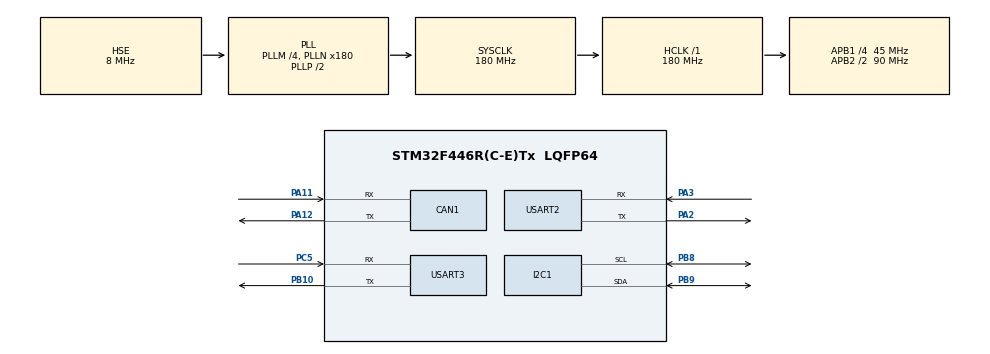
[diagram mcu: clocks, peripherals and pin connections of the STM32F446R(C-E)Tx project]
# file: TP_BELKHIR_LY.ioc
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Mcu.Family=STM32F4
Mcu.Name=STM32F446R(C-E)Tx
Mcu.Package=LQFP64
NVIC.PriorityGroup=NVIC_PRIORITYGROUP_0
PA11.Mode=CAN_Activate
PA11.Signal=CAN1_RX
PA12.Mode=CAN_Activate
PA12.Signal=CAN1_TX
PA13.Mode=Trace_Asynchronous_SW
PA13.Signal=SYS_JTMS-SWDIO
PA14.Mode=Trace_Asynchronous_SW
PA14.Signal=SYS_JTCK-SWCLK
PA2.Mode=Asynchronous
PA2.Signal=USART2_TX
PA3.Mode=Asynchronous
PA3.Signal=USART2_RX
PB10.Mode=Asynchronous
PB10.Signal=USART3_TX
PB3.Mode=Trace_Asynchronous_SW
PB3.Signal=SYS_JTDO-SWO
PB8.Mode=I2C
PB8.Signal=I2C1_SCL
PB9.Mode=I2C
PB9.Signal=I2C1_SDA
PC5.Mode=Asynchronous
PC5.Signal=USART3_RX
PH0-OSC_IN.Mode=HSE-External-Oscillator
PH0-OSC_IN.Signal=RCC_OSC_IN
PH1-OSC_OUT.Mode=HSE-External-Oscillator
PH1-OSC_OUT.Signal=RCC_OSC_OUT
ProjectManager.HeapSize=0x200
ProjectManager.StackSize=0x400
ProjectManager.TargetToolchain=STM32CubeIDE
RCC.48MHZClocksFreq_Value=84000000
RCC.AHBFreq_Value=180000000
RCC.APB1CLKDivider=RCC_HCLK_DIV4
RCC.APB1Freq_Value=45000000
RCC.APB1TimFreq_Value=90000000
RCC.APB2CLKDivider=RCC_HCLK_DIV2
RCC.APB2Freq_Value=90000000
RCC.APB2TimFreq_Value=180000000
RCC.CortexFreq_Value=180000000
RCC.FLatency-AdvancedSettings=FLASH_LATENCY_5
RCC.HCLKFreq_Value=180000000
RCC.HSE_VALUE=8000000
RCC.HSI_VALUE=16000000
RCC.PLLM=4
RCC.PLLN=180
RCC.PLLSourceVirtual=RCC_PLLSOURCE_HSE
RCC.SYSCLKFreq_VALUE=180000000
RCC.SYSCLKSource=RCC_SYSCLKSOURCE_PLLCLK
RCC.USBFreq_Value=180000000
RCC.VCOOutputFreq_Value=360000000
USART2.VirtualMode=VM_ASYNC
board=NUCLEO-F446RE

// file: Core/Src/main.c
/* USER CODE BEGIN Header */
/**
 ******************************************************************************
 * @file           : main.c
 * @brief          : Main program body
 ******************************************************************************
 * @attention
 *
 * Copyright (c) 2024 STMicroelectronics.
 * All rights reserved.
 *
 * This software is licensed under terms that can be found in the LICENSE file
 * in the root directory of this software component.
 * If no LICENSE file comes with this software, it is provided AS-IS.
 *
 ******************************************************************************
 */
/* USER CODE END Header */
#include "main.h"
#include "can.h"
#include "i2c.h"
#include "usart.h"
#include "gpio.h"

/* USER CODE BEGIN Includes */
#include <stdio.h>

/* USER CODE END Includes */

/* USER CODE BEGIN PTD */
uint16_t bmp280Adresse=0x77<<1 ;
uint8_t bmp280RegisterId = 0xD0 ;
uint8_t idValue  ;
//uint8_t modeNormalT2P16 = 0x57 ;
//uint8_t controlRegister = 0xF4 ;
uint8_t config[2] = {0xF4 , 0x57 } ;
uint8_t configValue  ;
uint8_t etalonnageContenu[25] ;
uint8_t etalonnageRegistre = 0x88 ;
uint8_t TempRegister[3]={0xfc ,0xfb ,0xfa} ;
uint8_t TempValue[3] ;
uint32_t Temperature ;
/* USER CODE END PTD */

void SystemClock_Config(void);

/* USER CODE BEGIN 0 */
int __io_putchar(int chr){

	HAL_UART_Transmit(&huart2, (uint8_t*)&chr,1, HAL_MAX_DELAY);
	return chr;
}

/* USER CODE END 0 */

int main(void)
{

	/* MCU Configuration--------------------------------------------------------*/

	/* Reset of all peripherals, Initializes the Flash interface and the Systick. */
	HAL_Init();

	/* Configure the system clock */
	SystemClock_Config();

	/* Initialize all configured peripherals */
	MX_GPIO_Init();
	MX_USART2_UART_Init();
	MX_I2C1_Init();
	MX_CAN1_Init();
	MX_USART3_UART_Init();
	/* USER CODE BEGIN 2 */
	printf("=============106===========\r\n") ;

	/* USER CODE END 2 */
	/**
  HAL_I2C_Master_Transmit(&hi2c1, bmp280Adresse, &bmp280RegisterId, 1, HAL_MAX_DELAY);
  HAL_I2C_Master_Receive(&hi2c1, bmp280Adresse, &idValue, 1, HAL_MAX_DELAY);
  printf("id = 0x%x \r\n" , idValue) ;

	HAL_I2C_Master_Transmit(&hi2c1, bmp280Adresse, config, 2, HAL_MAX_DELAY);
	//HAL_I2C_Master_Transmit(&hi2c1, bmp280Adresse, &modeNormalT2P16, 1, HAL_MAX_DELAY);
	HAL_I2C_Master_Receive(&hi2c1, bmp280Adresse, &configValue, 1, HAL_MAX_DELAY);
	printf("config = 0x%x \r\n" , configValue) ;
	etalonnageContenu[2] = 5 ;
	 */

	for(int i = 0 ; i<25 ; i++){
		HAL_I2C_Master_Transmit(&hi2c1, bmp280Adresse,&etalonnageRegistre +i, 1, HAL_MAX_DELAY);
		HAL_I2C_Master_Receive(&hi2c1, bmp280Adresse,&etalonnageContenu[i], 1, HAL_MAX_DELAY);
		printf("la valeure etalonnée %i est : 0x%x \r\n" ,i,etalonnageContenu[i] );
	}

	/**
	 for(int i = 0 ; i<3 ; i++){
		HAL_I2C_Master_Transmit(&hi2c1, uint32_t TemperatureConversion(uint32_t temperature){
		uint32_t t , var1 , var2 ,T ;
		var1  =((temperature<<3)-(t1<<1))*(t2>>11) ;
		var2  =(((temperature<<4)-(t1))*(t2>>11))- ;
	}Adresse, TempRegister + i, 1,HAL_MAX_DELAY);
		HAL_I2C_Master_Receive(&hi2c1, bmp280Adresse,&TempValue[i], 1, HAL_MAX_DELAY) ;
	}
	Temperature = TempValue[0]<<16 | TempValue[1]<<8 |TempValue[2] ;
	printf("La temperature est : 0x%x \r\n" , Temperature) ;

	 */
	uint16_t t1 = etalonnageContenu[0]<<etalonnageContenu[1] ;
	uint16_t t2 = etalonnageContenu[2]<<etalonnageContenu[3] ;
	uint16_t t3 = etalonnageContenu[3]<<etalonnageContenu[4] ;

	uint32_t TemperatureConversion(uint32_t temperature, int32_t t1, int32_t t2, int32_t t3) {
		int32_t var1, var2, T;

		var1 = ((((temperature >> 3) - ((int32_t)t1 << 1)) * (int32_t)t2) >> 11);
		int32_t temp_diff = (temperature >> 4) - (int32_t)t1;
		var2 = (((temp_diff * temp_diff) >> 12) * (int32_t)t3) >> 14;

		T = var1 + var2;
		T = (T * 5 + 128) >> 8; // Multiplier pour convertir en Celsius (calcul entier)
		return (uint32_t)T; // Retourner la température en Celsius
	}

	/* Infinite loop */
	while (1)
	{

	}
}

void SystemClock_Config(void)
{
	RCC_OscInitTypeDef RCC_OscInitStruct = {0};
	RCC_ClkInitTypeDef RCC_ClkInitStruct = {0};

	/** Configure the main internal regulator output voltage
	 */
	__HAL_RCC_PWR_CLK_ENABLE();
	__HAL_PWR_VOLTAGESCALING_CONFIG(PWR_REGULATOR_VOLTAGE_SCALE1);

	/** Initializes the RCC Oscillators according to the specified parameters
	 * in the RCC_OscInitTypeDef structure.
	 */
	RCC_OscInitStruct.OscillatorType = RCC_OSCILLATORTYPE_HSE;
	RCC_OscInitStruct.HSEState = RCC_HSE_ON;
	RCC_OscInitStruct.PLL.PLLState = RCC_PLL_ON;
	RCC_OscInitStruct.PLL.PLLSource = RCC_PLLSOURCE_HSE;
	RCC_OscInitStruct.PLL.PLLM = 4;
	RCC_OscInitStruct.PLL.PLLN = 180;
	RCC_OscInitStruct.PLL.PLLP = RCC_PLLP_DIV2;
	RCC_OscInitStruct.PLL.PLLQ = 2;
	RCC_OscInitStruct.PLL.PLLR = 2;
	if (HAL_RCC_OscConfig(&RCC_OscInitStruct) != HAL_OK)
	{
		Error_Handler();
	}

	/** Activate the Over-Drive mode
	 */
	if (HAL_PWREx_EnableOverDrive() != HAL_OK)
	{
		Error_Handler();
	}

	/** Initializes the CPU, AHB and APB buses clocks
	 */
	RCC_ClkInitStruct.ClockType = RCC_CLOCKTYPE_HCLK|RCC_CLOCKTYPE_SYSCLK
			|RCC_CLOCKTYPE_PCLK1|RCC_CLOCKTYPE_PCLK2;
	RCC_ClkInitStruct.SYSCLKSource = RCC_SYSCLKSOURCE_PLLCLK;
	RCC_ClkInitStruct.AHBCLKDivider = RCC_SYSCLK_DIV1;
	RCC_ClkInitStruct.APB1CLKDivider = RCC_HCLK_DIV4;
	RCC_ClkInitStruct.APB2CLKDivider = RCC_HCLK_DIV2;

	if (HAL_RCC_ClockConfig(&RCC_ClkInitStruct, FLASH_LATENCY_5) != HAL_OK)
	{
		Error_Handler();
	}
}

void Error_Handler(void)
{
	__disable_irq();
	while (1)
	{
	}
}
